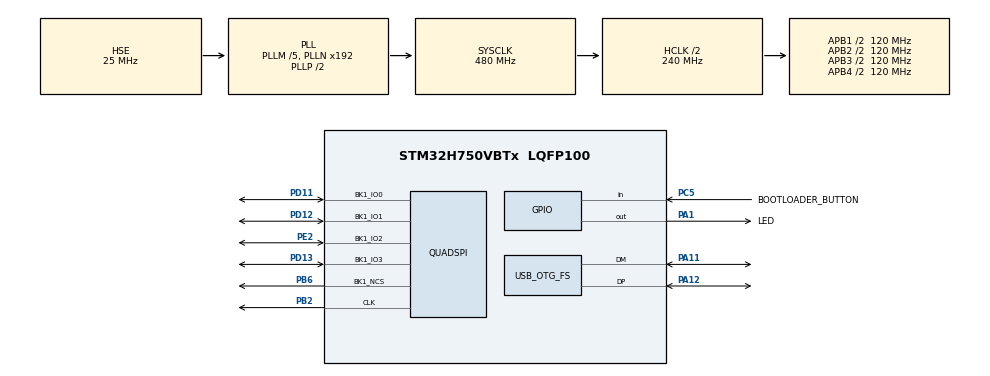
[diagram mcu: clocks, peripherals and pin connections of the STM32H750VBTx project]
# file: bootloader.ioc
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Mcu.Family=STM32H7
Mcu.Name=STM32H750VBTx
Mcu.Package=LQFP100
NVIC.OTG_FS_IRQn=true\:0\:0\:false\:false\:true\:false\:true\:true
NVIC.PriorityGroup=NVIC_PRIORITYGROUP_4
PA1.GPIO_Label=LED
PA1.PinState=GPIO_PIN_SET
PA1.Signal=GPIO_Output
PA11.Mode=Device_Only
PA11.Signal=USB_OTG_FS_DM
PA12.Mode=Device_Only
PA12.Signal=USB_OTG_FS_DP
PA13\ (JTMS/SWDIO).Mode=Serial_Wire
PA13\ (JTMS/SWDIO).Signal=DEBUG_JTMS-SWDIO
PA14\ (JTCK/SWCLK).Mode=Serial_Wire
PA14\ (JTCK/SWCLK).Signal=DEBUG_JTCK-SWCLK
PB2.Mode=Single Bank 1
PB2.Signal=QUADSPI_CLK
PB6.Mode=Single Bank 1
PB6.Signal=QUADSPI_BK1_NCS
PC5.GPIO_Label=BOOTLOADER_BUTTON
PC5.GPIO_PuPd=GPIO_PULLUP
PC5.Signal=GPIO_Input
PD11.Mode=Single Bank 1
PD11.Signal=QUADSPI_BK1_IO0
PD12.Mode=Single Bank 1
PD12.Signal=QUADSPI_BK1_IO1
PD13.Mode=Single Bank 1
PD13.Signal=QUADSPI_BK1_IO3
PE2.Mode=Single Bank 1
PE2.Signal=QUADSPI_BK1_IO2
PH0-OSC_IN\ (PH0).Mode=HSE-External-Oscillator
PH0-OSC_IN\ (PH0).Signal=RCC_OSC_IN
PH1-OSC_OUT\ (PH1).Mode=HSE-External-Oscillator
PH1-OSC_OUT\ (PH1).Signal=RCC_OSC_OUT
ProjectManager.HeapSize=0x200
ProjectManager.StackSize=0x400
ProjectManager.TargetToolchain=STM32CubeIDE
QUADSPI.ClockPrescaler=2
QUADSPI.FifoThreshold=4
QUADSPI.FlashSize=22
QUADSPI.SampleShifting=QSPI_SAMPLE_SHIFTING_NONE
RCC.ADCFreq_Value=50390625
RCC.APB1Freq_Value=120000000
RCC.APB2Freq_Value=120000000
RCC.APB3Freq_Value=120000000
RCC.APB4Freq_Value=120000000
RCC.CortexFreq_Value=480000000
RCC.D1PPRE=RCC_APB3_DIV2
RCC.D2PPRE1=RCC_APB1_DIV2
RCC.D2PPRE2=RCC_APB2_DIV2
RCC.D3PPRE=RCC_APB4_DIV2
RCC.DIVM1=5
RCC.DIVN1=192
RCC.EnbaleCSS=true
RCC.HCLKFreq_Value=240000000
RCC.HPRE=RCC_HCLK_DIV2
RCC.PLLFRACN=0
RCC.PLLSourceVirtual=RCC_PLLSOURCE_HSE
RCC.SYSCLKFreq_VALUE=480000000
RCC.SYSCLKSource=RCC_SYSCLKSOURCE_PLLCLK
RCC.USBCLockSelection=RCC_USBCLKSOURCE_HSI48
RCC.USBFreq_Value=48000000
USB_DEVICE.CLASS_NAME_FS=CDC
USB_DEVICE.VirtualMode-CDC_FS=Cdc
USB_DEVICE.VirtualModeFS=Cdc_FS
USB_OTG_FS.VirtualMode=Device_Only
VP_CRC_VS_CRC.Mode=CRC_Activate
VP_MEMORYMAP_VS_MEMORYMAP.Mode=CurAppReg
VP_USB_DEVICE_VS_USB_DEVICE_CDC_FS.Mode=CDC_FS
board=custom

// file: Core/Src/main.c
/* USER CODE BEGIN Header */
/**
  ******************************************************************************
  * @file           : main.c
  * @brief          : Main program body
  ******************************************************************************
  * @attention
  *
  * Copyright (c) 2026 STMicroelectronics.
  * All rights reserved.
  *
  * This software is licensed under terms that can be found in the LICENSE file
  * in the root directory of this software component.
  * If no LICENSE file comes with this software, it is provided AS-IS.
  *
  ******************************************************************************
  */
/* USER CODE END Header */
#include "main.h"
#include "usb_device.h"

/* USER CODE BEGIN Includes */
#include "bootloader.h"
#include "w25q64.h"
/* USER CODE END Includes */

CRC_HandleTypeDef hcrc;

QSPI_HandleTypeDef hqspi;

/* USER CODE BEGIN PV */
static uint8_t bootloader_mode = 0;
static uint8_t flash_initialized = 0;
/* USER CODE END PV */

void SystemClock_Config(void);
static void MX_GPIO_Init(void);
static void MX_QUADSPI_Init(void);
static void MX_CRC_Init(void);

int main(void)
{

  /* MCU Configuration--------------------------------------------------------*/

  /* Reset of all peripherals, Initializes the Flash interface and the Systick. */
  HAL_Init();

  /* Configure the system clock */
  SystemClock_Config();

  /* Initialize all configured peripherals */
  MX_GPIO_Init();
  MX_QUADSPI_Init();
  MX_USB_DEVICE_Init();
  MX_CRC_Init();
  /* USER CODE BEGIN 2 */
  HAL_GPIO_WritePin(LED_GPIO_Port, LED_Pin, GPIO_PIN_RESET);
  HAL_Delay(100);
  HAL_GPIO_WritePin(LED_GPIO_Port, LED_Pin, GPIO_PIN_SET);
  HAL_Delay(100);

  bootloader_mode = BL_ShouldEnterBootloader();

  if(bootloader_mode)
  {
    HAL_GPIO_WritePin(LED_GPIO_Port, LED_Pin, GPIO_PIN_RESET);

    W25QXX_StatusTypeDef flash_status = W25QXX_Init();
    if (flash_status != W25QXX_OK) {
      while(1) {
          HAL_GPIO_TogglePin(LED_GPIO_Port, LED_Pin);
          HAL_Delay(100);
      }
    }
    flash_initialized = 1;

    HAL_Delay(2000);

    BL_Run();
  }
  else
  {
    if (!flash_initialized) {
      W25QXX_StatusTypeDef flash_status = W25QXX_Init();
      if (flash_status != W25QXX_OK) {
        bootloader_mode = 1;
        BL_Run();
      }
      flash_initialized = 1;
    }

    if (BL_IsAppValid()) {
      HAL_GPIO_WritePin(LED_GPIO_Port, LED_Pin, GPIO_PIN_SET);
      HAL_Delay(50);

      BL_JumpToApplication();
    } else {
      bootloader_mode = 1;
      BL_Run();
    }
  }
  /* USER CODE END 2 */

  /* Infinite loop */
  while (1)
  {

  }
}

void SystemClock_Config(void)
{
  RCC_OscInitTypeDef RCC_OscInitStruct = {0};
  RCC_ClkInitTypeDef RCC_ClkInitStruct = {0};

  /** Supply configuration update enable
  */
  HAL_PWREx_ConfigSupply(PWR_LDO_SUPPLY);

  /** Configure the main internal regulator output voltage
  */
  __HAL_PWR_VOLTAGESCALING_CONFIG(PWR_REGULATOR_VOLTAGE_SCALE0);

  while(!__HAL_PWR_GET_FLAG(PWR_FLAG_VOSRDY)) {}

  /** Initializes the RCC Oscillators according to the specified parameters
  * in the RCC_OscInitTypeDef structure.
  */
  RCC_OscInitStruct.OscillatorType = RCC_OSCILLATORTYPE_HSI48|RCC_OSCILLATORTYPE_HSE;
  RCC_OscInitStruct.HSEState = RCC_HSE_ON;
  RCC_OscInitStruct.HSI48State = RCC_HSI48_ON;
  RCC_OscInitStruct.PLL.PLLState = RCC_PLL_ON;
  RCC_OscInitStruct.PLL.PLLSource = RCC_PLLSOURCE_HSE;
  RCC_OscInitStruct.PLL.PLLM = 5;
  RCC_OscInitStruct.PLL.PLLN = 192;
  RCC_OscInitStruct.PLL.PLLP = 2;
  RCC_OscInitStruct.PLL.PLLQ = 2;
  RCC_OscInitStruct.PLL.PLLR = 2;
  RCC_OscInitStruct.PLL.PLLRGE = RCC_PLL1VCIRANGE_2;
  RCC_OscInitStruct.PLL.PLLVCOSEL = RCC_PLL1VCOWIDE;
  RCC_OscInitStruct.PLL.PLLFRACN = 0;
  if (HAL_RCC_OscConfig(&RCC_OscInitStruct) != HAL_OK)
  {
    Error_Handler();
  }

  /** Initializes the CPU, AHB and APB buses clocks
  */
  RCC_ClkInitStruct.ClockType = RCC_CLOCKTYPE_HCLK|RCC_CLOCKTYPE_SYSCLK
                              |RCC_CLOCKTYPE_PCLK1|RCC_CLOCKTYPE_PCLK2
                              |RCC_CLOCKTYPE_D3PCLK1|RCC_CLOCKTYPE_D1PCLK1;
  RCC_ClkInitStruct.SYSCLKSource = RCC_SYSCLKSOURCE_PLLCLK;
  RCC_ClkInitStruct.SYSCLKDivider = RCC_SYSCLK_DIV1;
  RCC_ClkInitStruct.AHBCLKDivider = RCC_HCLK_DIV2;
  RCC_ClkInitStruct.APB3CLKDivider = RCC_APB3_DIV2;
  RCC_ClkInitStruct.APB1CLKDivider = RCC_APB1_DIV2;
  RCC_ClkInitStruct.APB2CLKDivider = RCC_APB2_DIV2;
  RCC_ClkInitStruct.APB4CLKDivider = RCC_APB4_DIV2;

  if (HAL_RCC_ClockConfig(&RCC_ClkInitStruct, FLASH_LATENCY_4) != HAL_OK)
  {
    Error_Handler();
  }

  /** Enables the Clock Security System
  */
  HAL_RCC_EnableCSS();
}

static void MX_CRC_Init(void)
{

  hcrc.Instance = CRC;
  hcrc.Init.DefaultPolynomialUse = DEFAULT_POLYNOMIAL_ENABLE;
  hcrc.Init.DefaultInitValueUse = DEFAULT_INIT_VALUE_ENABLE;
  hcrc.Init.InputDataInversionMode = CRC_INPUTDATA_INVERSION_NONE;
  hcrc.Init.OutputDataInversionMode = CRC_OUTPUTDATA_INVERSION_DISABLE;
  hcrc.InputDataFormat = CRC_INPUTDATA_FORMAT_BYTES;
  if (HAL_CRC_Init(&hcrc) != HAL_OK)
  {
    Error_Handler();
  }

}

static void MX_QUADSPI_Init(void)
{

  /* QUADSPI parameter configuration*/
  hqspi.Instance = QUADSPI;
  hqspi.Init.ClockPrescaler = 6;
  hqspi.Init.FifoThreshold = 4;
  hqspi.Init.SampleShifting = QSPI_SAMPLE_SHIFTING_NONE;
  hqspi.Init.FlashSize = 23;
  hqspi.Init.ChipSelectHighTime = QSPI_CS_HIGH_TIME_1_CYCLE;
  hqspi.Init.ClockMode = QSPI_CLOCK_MODE_0;
  hqspi.Init.FlashID = QSPI_FLASH_ID_1;
  hqspi.Init.DualFlash = QSPI_DUALFLASH_DISABLE;
  if (HAL_QSPI_Init(&hqspi) != HAL_OK)
  {
    Error_Handler();
  }

}

static void MX_GPIO_Init(void)
{
  GPIO_InitTypeDef GPIO_InitStruct = {0};

  /* GPIO Ports Clock Enable */
  __HAL_RCC_GPIOE_CLK_ENABLE();
  __HAL_RCC_GPIOH_CLK_ENABLE();
  __HAL_RCC_GPIOA_CLK_ENABLE();
  __HAL_RCC_GPIOC_CLK_ENABLE();
  __HAL_RCC_GPIOB_CLK_ENABLE();
  __HAL_RCC_GPIOD_CLK_ENABLE();

  /*Configure GPIO pin Output Level */
  HAL_GPIO_WritePin(LED_GPIO_Port, LED_Pin, GPIO_PIN_SET);

  /*Configure GPIO pin : LED_Pin */
  GPIO_InitStruct.Pin = LED_Pin;
  GPIO_InitStruct.Mode = GPIO_MODE_OUTPUT_PP;
  GPIO_InitStruct.Pull = GPIO_NOPULL;
  GPIO_InitStruct.Speed = GPIO_SPEED_FREQ_LOW;
  HAL_GPIO_Init(LED_GPIO_Port, &GPIO_InitStruct);

  /*Configure GPIO pin : BOOTLOADER_BUTTON_Pin */
  GPIO_InitStruct.Pin = BOOTLOADER_BUTTON_Pin;
  GPIO_InitStruct.Mode = GPIO_MODE_INPUT;
  GPIO_InitStruct.Pull = GPIO_PULLUP;
  HAL_GPIO_Init(BOOTLOADER_BUTTON_GPIO_Port, &GPIO_InitStruct);

  /*AnalogSwitch Config */
  HAL_SYSCFG_AnalogSwitchConfig(SYSCFG_SWITCH_PA1, SYSCFG_SWITCH_PA1_CLOSE);

}

void Error_Handler(void)
{
  __disable_irq();
  while (1)
  {
  }
}
